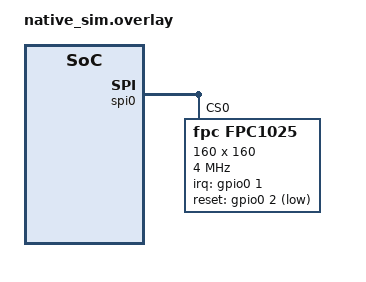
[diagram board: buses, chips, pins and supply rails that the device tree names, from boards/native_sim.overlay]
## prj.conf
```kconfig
<<<<<<< HEAD   (453fd99d5363bf9651b2fb0d3ffbbab7386a6376 program,zmake: drop cmsis references)
# Copyright 2023 The ChromiumOS Authors
# Use of this source code is governed by a BSD-style license that can be
# found in the LICENSE file.

CONFIG_ZTEST=y
CONFIG_EMUL=y
CONFIG_GPIO=y
CONFIG_SPI=y
CONFIG_PM_DEVICE=y
CONFIG_FINGERPRINT_SENSOR=y
CONFIG_FINGERPRINT_SENSOR_FPC1025_PAL=y
CONFIG_APPLICATION_DEFINED_SYSCALL=y
CONFIG_UART_NATIVE_PTY_0_ON_STDINOUT=y
||||||| BASE   (0cb93ccd933607defa9592c423c9a9fb4946fd4d anakin: Set PDC source PDO overcurrent capability)
# Copyright 2023 The ChromiumOS Authors
# Use of this source code is governed by a BSD-style license that can be
# found in the LICENSE file.

CONFIG_ZTEST=y
CONFIG_EMUL=y
CONFIG_GPIO=y
CONFIG_SPI=y
CONFIG_PM_DEVICE=y
CONFIG_FINGERPRINT_SENSOR=y
CONFIG_FINGERPRINT_SENSOR_FPC1025_PAL=y
CONFIG_APPLICATION_DEFINED_SYSCALL=y
CONFIG_NATIVE_UART_0_ON_STDINOUT=y
=======
>>>>>>> BRANCH (86da3bbeafeffe5727f5bfec7d9eed87995f2661 UPSTREAM: driver: add new ALS CM36781 driver code)
```

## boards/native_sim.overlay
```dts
<<<<<<< HEAD   (453fd99d5363bf9651b2fb0d3ffbbab7386a6376 program,zmake: drop cmsis references)
/* Copyright 2023 The ChromiumOS Authors
 * Use of this source code is governed by a BSD-style license that can be
 * found in the LICENSE file.
 */

#define FPC1025_COMMON_IMAGE_PROPS \
    width = <160>; \
    height = <160>; \
    bits-per-pixel = <8>; \
    v4l2-pixel-format = "V4L2_PIX_FMT_GREY";

#define FPC1025_RAW_IMAGE_PROPS \
    FPC1025_COMMON_IMAGE_PROPS \
    frame-size = <26260>;

#define FPC1025_REAL_IMAGE_PROPS \
    FPC1025_COMMON_IMAGE_PROPS \
    frame-size = <25600>;

/ {
	chosen {
		cros-fp,fingerprint-sensor = &fpc1025;
	};
};

&spi0 {
	fpc1025: fpc1025@0 {
		compatible = "fpc,fpc1025";
		reg = <0>;
		spi-max-frequency = <4000000>;

		configs {
			compatible = "fingerprint-image-frame-params";
			config0 {
				FPC1025_RAW_IMAGE_PROPS
				capture-type = "FINGERPRINT_CAPTURE_TYPE_VENDOR_FORMAT";
			};
			config1 {
				FPC1025_REAL_IMAGE_PROPS
				capture-type = "FINGERPRINT_CAPTURE_TYPE_SIMPLE_IMAGE";
			};
			config2 {
				FPC1025_REAL_IMAGE_PROPS
				capture-type = "FINGERPRINT_CAPTURE_TYPE_PATTERN0";
			};
			config3 {
				FPC1025_REAL_IMAGE_PROPS
				capture-type = "FINGERPRINT_CAPTURE_TYPE_PATTERN1";
			};
			config4 {
				FPC1025_RAW_IMAGE_PROPS
				capture-type = "FINGERPRINT_CAPTURE_TYPE_QUALITY_TEST";
			};
			config5 {
				FPC1025_REAL_IMAGE_PROPS
				capture-type = "FINGERPRINT_CAPTURE_TYPE_RESET_TEST";
			};
		};

		irq-gpios = <&gpio0 1 (GPIO_ACTIVE_HIGH | GPIO_PULL_DOWN)>;
		reset-gpios = <&gpio0 2 GPIO_ACTIVE_LOW>;
	};
};
||||||| BASE   (0cb93ccd933607defa9592c423c9a9fb4946fd4d anakin: Set PDC source PDO overcurrent capability)
/* Copyright 2023 The ChromiumOS Authors
 * Use of this source code is governed by a BSD-style license that can be
 * found in the LICENSE file.
 */

/ {
	chosen {
		cros-fp,fingerprint-sensor = &fpc1025;
	};
};

&spi0 {
	fpc1025: fpc1025@0 {
		compatible = "fpc,fpc1025";
		reg = <0>;
		spi-max-frequency = <4000000>;

		width = <160>;
		height = <160>;
		bits-per-pixel = <8>;
		v4l2-pixel-format = "V4L2_PIX_FMT_GREY";

		irq-gpios = <&gpio0 1 (GPIO_ACTIVE_HIGH | GPIO_PULL_DOWN)>;
		reset-gpios = <&gpio0 2 GPIO_ACTIVE_LOW>;
	};
};
=======
>>>>>>> BRANCH (86da3bbeafeffe5727f5bfec7d9eed87995f2661 UPSTREAM: driver: add new ALS CM36781 driver code)
```

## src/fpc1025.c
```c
<<<<<<< HEAD   (453fd99d5363bf9651b2fb0d3ffbbab7386a6376 program,zmake: drop cmsis references)
/* Copyright 2023 The ChromiumOS Authors
 * Use of this source code is governed by a BSD-style license that can be
 * found in the LICENSE file.
 */

#include "fpc1025_pal_test_helpers.h"

#include <zephyr/device.h>
#include <zephyr/devicetree.h>
#include <zephyr/drivers/emul.h>
#include <zephyr/drivers/gpio.h>
#include <zephyr/drivers/gpio/gpio_emul.h>
#include <zephyr/fff.h>
#include <zephyr/sys/byteorder.h>
#include <zephyr/sys/util.h>
#include <zephyr/ztest.h>
#include <zephyr/ztest_assert.h>

#include <drivers/fingerprint.h>
#include <emul/emul_fpc1025.h>
#include <fingerprint/v4l2_types.h>
#include <fingerprint_fpc1025_private.h>

DEFINE_FFF_GLOBALS;

struct fpc1025_fixture {
	const struct device *dev;
	const struct emul *target;
};

static void *fpc1025_setup(void)
{
	static struct fpc1025_fixture fixture = {
		.dev = DEVICE_DT_GET(DT_NODELABEL(fpc1025)),
		.target = EMUL_DT_GET(DT_NODELABEL(fpc1025)),
	};

	zassert_not_null(fixture.dev);
	zassert_not_null(fixture.target);
	return &fixture;
}

/* Converts capture types from the ec domain to the fpc domain. */
int convert_fp_capture_type_to_fpc_capture_type(int mode);

#define FPC1025_IMAGE_FRAME_PARAM_INITIALIZER(idx, node_id)                 \
	{                                                                   \
		.frame_size = FINGERPRINT_SENSOR_FRAME_SIZE(idx, node_id),  \
		.pixel_format =                                             \
			FINGERPRINT_SENSOR_V4L2_PIXEL_FORMAT(idx, node_id), \
		.width = FINGERPRINT_SENSOR_RES_X(idx, node_id),            \
		.height = FINGERPRINT_SENSOR_RES_Y(idx, node_id),           \
		.bpp = FINGERPRINT_SENSOR_RES_BPP(idx, node_id),            \
		.fp_capture_type =                                          \
			FINGERPRINT_SENSOR_CAPTURE_TYPE(idx, node_id),      \
		.reserved = 0,                                              \
	}

static const struct fingerprint_image_frame_params
	expected_image_frame_params_array[] = { LISTIFY(
		NUM_IMAGE_CAPTURE_TYPES, FPC1025_IMAGE_FRAME_PARAM_INITIALIZER,
		(, ), DT_NODELABEL(fpc1025)) };

ZTEST_SUITE(fpc1025, NULL, fpc1025_setup, NULL, NULL, NULL);

ZTEST_F(fpc1025, test_init_success)
{
	zassert_ok(fingerprint_init(fixture->dev));
	zassert_equal(fpc1025_get_low_power_mode(fixture->target), 1);
}

ZTEST_F(fpc1025, test_init_failure_bad_hwid)
{
	fpc1025_set_hwid(fixture->target, 0x0);
	zassert_equal(fingerprint_init(fixture->dev), -EINVAL);
}

ZTEST_F(fpc1025, test_deinit_success)
{
	zassert_ok(fingerprint_deinit(fixture->dev));
}

ZTEST_F(fpc1025, test_get_info)
{
	struct fingerprint_sensor_info sensor_info;
	struct fingerprint_image_frame_params
		image_frame_params_array[NUM_IMAGE_CAPTURE_TYPES];
	uint8_t num_params = NUM_IMAGE_CAPTURE_TYPES;

	/* We need to initialize driver first to initialize 'error' field */
	zassert_ok(fingerprint_init(fixture->dev));
	zassert_ok(fingerprint_get_info(fixture->dev, &sensor_info,
					image_frame_params_array, &num_params));
	zassert_equal(
		num_params, NUM_IMAGE_CAPTURE_TYPES,
		"fingerprint_get_info returned an unexpected number of params");

	zassert_equal(sensor_info.vendor_id, FOURCC('F', 'P', 'C', ' '));
	zassert_equal(sensor_info.product_id, 9);
	/*
	 * Last 4 bits of hardware id is a year of sensor production,
	 * could differ between sensors.
	 */
	zassert_equal(sensor_info.model_id >> 4, 0x021);
	zassert_equal(sensor_info.version, 1);
	zassert_equal(sensor_info.errors,
		      FINGERPRINT_ERROR_DEAD_PIXELS_UNKNOWN);

	for (int i = 0; i < NUM_IMAGE_CAPTURE_TYPES; ++i) {
		zassert_equal(
			memcmp(&image_frame_params_array[i],
			       &expected_image_frame_params_array[i],
			       sizeof(struct fingerprint_image_frame_params)),
			0, "Struct comparison failed at index %d", i);
	}
}

ZTEST_F(fpc1025, test_enter_low_power_mode)
{
	zassert_ok(fingerprint_set_mode(fixture->dev,
					FINGERPRINT_SENSOR_MODE_LOW_POWER));
	zassert_equal(fpc1025_get_low_power_mode(fixture->target), 1);
}

ZTEST_F(fpc1025, test_enter_idle)
{
	zassert_ok(fingerprint_set_mode(fixture->dev,
					FINGERPRINT_SENSOR_MODE_IDLE));
}

ZTEST_F(fpc1025, test_invalid_mode_not_supported)
{
	zassert_equal(fingerprint_set_mode(fixture->dev, UINT16_MAX), -ENOTSUP);
}

FAKE_VOID_FUNC(test_interrupt_handler, const struct device *);

ZTEST_F(fpc1025, test_interrupt)
{
	const struct gpio_dt_spec spec =
		GPIO_DT_SPEC_GET(DT_NODELABEL(fpc1025), irq_gpios);

	RESET_FAKE(test_interrupt_handler);
	zassert_ok(fingerprint_config(fixture->dev, test_interrupt_handler));

	/* Enable interrupt (they are disabled by default). */
	zassert_ok(gpio_pin_interrupt_configure_dt(&spec,
						   GPIO_INT_EDGE_TO_ACTIVE));

	/*
	 * Toggle the GPIO twice. We expect that the driver will disable
	 * interrupt in interrupt handler, so handler should be called once.
	 */
	for (int i = 0; i < 2; i++) {
		gpio_emul_input_set(spec.port, spec.pin, 1);
		k_msleep(5);
		gpio_emul_input_set(spec.port, spec.pin, 0);
		k_msleep(5);
	}

	/* Verify the handler was called once. */
	zassert_equal(test_interrupt_handler_fake.call_count, 1);
}

ZTEST_F(fpc1025, test_maintenance_not_supported)
{
	uint8_t buffer[CONFIG_FINGERPRINT_SENSOR_IMAGE_SIZE];

	zassert_equal(fingerprint_maintenance(fixture->dev, buffer,
					      sizeof(buffer)),
		      -ENOTSUP);
}

ZTEST_F(fpc1025, test_finger_status_not_supported)
{
	zassert_equal(fingerprint_finger_status(fixture->dev), -ENOTSUP);
}

ZTEST_F(fpc1025, test_acquire_image_not_supported)
{
	uint8_t buffer[CONFIG_FINGERPRINT_SENSOR_IMAGE_SIZE];

	zassert_equal(fingerprint_acquire_image(fixture->dev, 0, buffer,
						sizeof(buffer)),
		      -ENOTSUP);
}

ZTEST_F(fpc1025, test_sensor_mode_detect_not_supported)
{
	zassert_equal(fingerprint_set_mode(fixture->dev,
					   FINGERPRINT_SENSOR_MODE_DETECT),
		      -ENOTSUP);
}

ZTEST_F(fpc1025, test_pal_spi_write_read)
{
	/*
	 * Prepare buffer with command and place for response.
	 * Sensor should return hardware id.
	 */
	uint8_t hwid_cmd_buf[] = { 0xFC, 0x00, 0x00 };
	uint16_t hwid;

	zassert_ok(fpc1025_pal_spi_write_read(hwid_cmd_buf, hwid_cmd_buf,
					      sizeof(hwid_cmd_buf), false));
	/*
	 * Second and third bytes contain HWID. It's encoded in big endian so
	 * convert it cpu endianness.
	 */
	hwid = sys_be16_to_cpu(*(uint16_t *)&hwid_cmd_buf[1]);

	/*
	 * Last 4 bits of hardware id is a year of sensor production,
	 * could differ between sensors.
	 */
	zassert_equal(hwid >> 4, 0x021);
}

ZTEST_F(fpc1025, test_pal_spi_write_read_series)
{
	uint8_t hwid_cmd_buf[] = { 0xFC, 0x00, 0x00 };

	zassert_ok(fpc1025_pal_spi_write_read(hwid_cmd_buf, hwid_cmd_buf,
					      sizeof(hwid_cmd_buf), true));
	/* The second transfer is done, with the CS already asserted */
	zassert_ok(fpc1025_pal_spi_write_read(hwid_cmd_buf, hwid_cmd_buf,
					      sizeof(hwid_cmd_buf), false));
}

ZTEST_F(fpc1025, test_pal_check_irq)
{
	const struct gpio_dt_spec irq_pin =
		GPIO_DT_SPEC_GET(DT_NODELABEL(fpc1025), irq_gpios);

	gpio_emul_input_set(irq_pin.port, irq_pin.pin, 1);
	zassert_equal(fpc1025_pal_spi_check_irq(), true);
	gpio_emul_input_set(irq_pin.port, irq_pin.pin, 0);
	zassert_equal(fpc1025_pal_spi_check_irq(), false);
}

ZTEST_F(fpc1025, test_pal_read_irq)
{
	const struct gpio_dt_spec irq_pin =
		GPIO_DT_SPEC_GET(DT_NODELABEL(fpc1025), irq_gpios);

	gpio_emul_input_set(irq_pin.port, irq_pin.pin, 1);
	zassert_equal(fpc1025_pal_spi_read_irq(), true);
	gpio_emul_input_set(irq_pin.port, irq_pin.pin, 0);
	zassert_equal(fpc1025_pal_spi_read_irq(), false);
}

ZTEST_F(fpc1025, test_pal_reset_pin)
{
	const struct gpio_dt_spec reset_pin =
		GPIO_DT_SPEC_GET(DT_NODELABEL(fpc1025), reset_gpios);

	/* Reset is active when GPIO output is low. */
	fpc1025_pal_spi_reset(true);
	zassert_equal(gpio_emul_output_get(reset_pin.port, reset_pin.pin), 0);

	/* Reset is inactive when GPIO output is high. */
	fpc1025_pal_spi_reset(false);
	zassert_equal(gpio_emul_output_get(reset_pin.port, reset_pin.pin), 1);
}

ZTEST_F(fpc1025, test_pal_timebase_get_tick)
{
	zassert_equal(fpc1025_pal_timebase_get_tick(), k_uptime_get_32());
}

ZTEST_F(fpc1025, test_pal_timebase_busy_wait)
{
	uint32_t t1, t2;

	t1 = fpc1025_pal_timebase_get_tick();

	/* Wait 100ms. */
	fpc1025_pal_timebase_busy_wait(100);

	t2 = fpc1025_pal_timebase_get_tick();

	zassert_true((t2 - t1) == 100);
}

ZTEST_F(fpc1025, test_pal_memory_alloc)
{
	void *p;

	p = fpc1025_pal_malloc(2048);
	zassert_not_null(p);

	fpc1025_pal_free(p);
}

static ZTEST_DMEM volatile int expected_reason = -1;

void k_sys_fatal_error_handler(unsigned int reason, const struct arch_esf *pEsf)
{
	printk("Caught system error -- reason %d\n", reason);

	zassert_not_equal(expected_reason, -1, "Unexpected crash");
	zassert_equal(reason, expected_reason,
		      "Wrong crash type got %d expected %d\n", reason,
		      expected_reason);

	expected_reason = -1;
	ztest_test_pass();
}

ZTEST_F(fpc1025, test_pal_oops_on_memory_alloc_fail)
{
	expected_reason = K_ERR_KERNEL_OOPS;
	fpc1025_pal_malloc(CONFIG_FINGERPRINT_SENSOR_FPC1025_HEAP_SIZE);

	ztest_test_fail();
}

ZTEST_F(fpc1025, test_convert_fp_capture_type_to_fpc_capture_type)
{
	zassert_equal(convert_fp_capture_type_to_fpc_capture_type(
			      FINGERPRINT_CAPTURE_TYPE_VENDOR_FORMAT),
		      FPC_CAPTURE_VENDOR_FORMAT);
	zassert_equal(convert_fp_capture_type_to_fpc_capture_type(
			      FINGERPRINT_CAPTURE_TYPE_SIMPLE_IMAGE),
		      FPC_CAPTURE_SIMPLE_IMAGE);
	zassert_equal(convert_fp_capture_type_to_fpc_capture_type(
			      FINGERPRINT_CAPTURE_TYPE_PATTERN0),
		      FPC_CAPTURE_PATTERN0);
	zassert_equal(convert_fp_capture_type_to_fpc_capture_type(
			      FINGERPRINT_CAPTURE_TYPE_PATTERN1),
		      FPC_CAPTURE_PATTERN1);
	zassert_equal(convert_fp_capture_type_to_fpc_capture_type(
			      FINGERPRINT_CAPTURE_TYPE_QUALITY_TEST),
		      FPC_CAPTURE_QUALITY_TEST);
	zassert_equal(convert_fp_capture_type_to_fpc_capture_type(
			      FINGERPRINT_CAPTURE_TYPE_RESET_TEST),
		      FPC_CAPTURE_RESET_TEST);
	zassert_equal(convert_fp_capture_type_to_fpc_capture_type(
			      FINGERPRINT_CAPTURE_TYPE_MAX),
		      -EINVAL);
}

ZTEST_F(fpc1025, test_acquire_image_small_buffer_size)
{
	uint8_t buffer[CONFIG_FINGERPRINT_SENSOR_IMAGE_SIZE] = { 0 };
	size_t image_buf_size = CONFIG_FINGERPRINT_SENSOR_IMAGE_SIZE - 1;
	enum fingerprint_capture_type capture_type =
		FINGERPRINT_CAPTURE_TYPE_VENDOR_FORMAT;

	zassert_equal(fingerprint_acquire_image(fixture->dev, capture_type,
						buffer, image_buf_size),
		      -EINVAL);
}

ZTEST_F(fpc1025, test_acquire_image_wrong_capture_type)
{
	uint8_t buffer[CONFIG_FINGERPRINT_SENSOR_IMAGE_SIZE] = { 0 };
	enum fingerprint_capture_type capture_type =
		FINGERPRINT_CAPTURE_TYPE_MAX;

	zassert_equal(fingerprint_acquire_image(fixture->dev, capture_type,
						buffer, sizeof(buffer)),
		      -EINVAL);
}
||||||| BASE   (0cb93ccd933607defa9592c423c9a9fb4946fd4d anakin: Set PDC source PDO overcurrent capability)
/* Copyright 2023 The ChromiumOS Authors
 * Use of this source code is governed by a BSD-style license that can be
 * found in the LICENSE file.
 */

#include "fpc1025_pal_test_helpers.h"

#include <zephyr/device.h>
#include <zephyr/devicetree.h>
#include <zephyr/drivers/emul.h>
#include <zephyr/drivers/gpio.h>
#include <zephyr/drivers/gpio/gpio_emul.h>
#include <zephyr/fff.h>
#include <zephyr/sys/byteorder.h>
#include <zephyr/ztest.h>
#include <zephyr/ztest_assert.h>

#include <drivers/fingerprint.h>
#include <emul/emul_fpc1025.h>
#include <fingerprint/v4l2_types.h>
#include <fingerprint_fpc1025_private.h>

DEFINE_FFF_GLOBALS;

struct fpc1025_fixture {
	const struct device *dev;
	const struct emul *target;
};

static void *fpc1025_setup(void)
{
	static struct fpc1025_fixture fixture = {
		.dev = DEVICE_DT_GET(DT_NODELABEL(fpc1025)),
		.target = EMUL_DT_GET(DT_NODELABEL(fpc1025)),
	};

	zassert_not_null(fixture.dev);
	zassert_not_null(fixture.target);
	return &fixture;
}

/* Converts capture types from the ec domain to the fpc domain. */
int convert_fp_capture_type_to_fpc_capture_type(int mode);

ZTEST_SUITE(fpc1025, NULL, fpc1025_setup, NULL, NULL, NULL);

ZTEST_F(fpc1025, test_init_success)
{
	zassert_ok(fingerprint_init(fixture->dev));
	zassert_equal(fpc1025_get_low_power_mode(fixture->target), 1);
}

ZTEST_F(fpc1025, test_init_failure_bad_hwid)
{
	fpc1025_set_hwid(fixture->target, 0x0);
	zassert_equal(fingerprint_init(fixture->dev), -EINVAL);
}

ZTEST_F(fpc1025, test_deinit_success)
{
	zassert_ok(fingerprint_deinit(fixture->dev));
}

ZTEST_F(fpc1025, test_get_info)
{
	struct fingerprint_info info;

	/* We need to initialize driver first to initialize 'error' field */
	zassert_ok(fingerprint_init(fixture->dev));
	zassert_ok(fingerprint_get_info(fixture->dev, &info));

	zassert_equal(info.vendor_id, FOURCC('F', 'P', 'C', ' '));
	zassert_equal(info.product_id, 9);
	/*
	 * Last 4 bits of hardware id is a year of sensor production,
	 * could differ between sensors.
	 */
	zassert_equal(info.model_id >> 4, 0x021);
	zassert_equal(info.version, 1);
	zassert_equal(info.frame_size, CONFIG_FINGERPRINT_SENSOR_IMAGE_SIZE);
	zassert_equal(info.pixel_format, FINGERPRINT_SENSOR_V4L2_PIXEL_FORMAT(
						 DT_NODELABEL(fpc1025)));
	zassert_equal(info.width,
		      FINGERPRINT_SENSOR_RES_X(DT_NODELABEL(fpc1025)));
	zassert_equal(info.height,
		      FINGERPRINT_SENSOR_RES_Y(DT_NODELABEL(fpc1025)));
	zassert_equal(info.bpp,
		      FINGERPRINT_SENSOR_RES_BPP(DT_NODELABEL(fpc1025)));
	zassert_equal(info.errors, FINGERPRINT_ERROR_DEAD_PIXELS_UNKNOWN);
}

ZTEST_F(fpc1025, test_enter_low_power_mode)
{
	zassert_ok(fingerprint_set_mode(fixture->dev,
					FINGERPRINT_SENSOR_MODE_LOW_POWER));
	zassert_equal(fpc1025_get_low_power_mode(fixture->target), 1);
}

ZTEST_F(fpc1025, test_enter_idle)
{
	zassert_ok(fingerprint_set_mode(fixture->dev,
					FINGERPRINT_SENSOR_MODE_IDLE));
}

ZTEST_F(fpc1025, test_invalid_mode_not_supported)
{
	zassert_equal(fingerprint_set_mode(fixture->dev, UINT16_MAX), -ENOTSUP);
}

FAKE_VOID_FUNC(test_interrupt_handler, const struct device *);

ZTEST_F(fpc1025, test_interrupt)
{
	const struct gpio_dt_spec spec =
		GPIO_DT_SPEC_GET(DT_NODELABEL(fpc1025), irq_gpios);

	RESET_FAKE(test_interrupt_handler);
	zassert_ok(fingerprint_config(fixture->dev, test_interrupt_handler));

	/* Enable interrupt (they are disabled by default). */
	zassert_ok(gpio_pin_interrupt_configure_dt(&spec,
						   GPIO_INT_EDGE_TO_ACTIVE));

	/*
	 * Toggle the GPIO twice. We expect that the driver will disable
	 * interrupt in interrupt handler, so handler should be called once.
	 */
	for (int i = 0; i < 2; i++) {
		gpio_emul_input_set(spec.port, spec.pin, 1);
		k_msleep(5);
		gpio_emul_input_set(spec.port, spec.pin, 0);
		k_msleep(5);
	}

	/* Verify the handler was called once. */
	zassert_equal(test_interrupt_handler_fake.call_count, 1);
}

ZTEST_F(fpc1025, test_maintenance_not_supported)
{
	uint8_t buffer[CONFIG_FINGERPRINT_SENSOR_IMAGE_SIZE];

	zassert_equal(fingerprint_maintenance(fixture->dev, buffer,
					      sizeof(buffer)),
		      -ENOTSUP);
}

ZTEST_F(fpc1025, test_finger_status_not_supported)
{
	zassert_equal(fingerprint_finger_status(fixture->dev), -ENOTSUP);
}

ZTEST_F(fpc1025, test_acquire_image_not_supported)
{
	uint8_t buffer[CONFIG_FINGERPRINT_SENSOR_IMAGE_SIZE];

	zassert_equal(fingerprint_acquire_image(fixture->dev, 0, buffer,
						sizeof(buffer)),
		      -ENOTSUP);
}

ZTEST_F(fpc1025, test_sensor_mode_detect_not_supported)
{
	zassert_equal(fingerprint_set_mode(fixture->dev,
					   FINGERPRINT_SENSOR_MODE_DETECT),
		      -ENOTSUP);
}

ZTEST_F(fpc1025, test_pal_spi_write_read)
{
	/*
	 * Prepare buffer with command and place for response.
	 * Sensor should return hardware id.
	 */
	uint8_t hwid_cmd_buf[] = { 0xFC, 0x00, 0x00 };
	uint16_t hwid;

	zassert_ok(fpc1025_pal_spi_write_read(hwid_cmd_buf, hwid_cmd_buf,
					      sizeof(hwid_cmd_buf), false));
	/*
	 * Second and third bytes contain HWID. It's encoded in big endian so
	 * convert it cpu endianness.
	 */
	hwid = sys_be16_to_cpu(*(uint16_t *)&hwid_cmd_buf[1]);

	/*
	 * Last 4 bits of hardware id is a year of sensor production,
	 * could differ between sensors.
	 */
	zassert_equal(hwid >> 4, 0x021);
}

ZTEST_F(fpc1025, test_pal_spi_write_read_series)
{
	uint8_t hwid_cmd_buf[] = { 0xFC, 0x00, 0x00 };

	zassert_ok(fpc1025_pal_spi_write_read(hwid_cmd_buf, hwid_cmd_buf,
					      sizeof(hwid_cmd_buf), true));
	/* The second transfer is done, with the CS already asserted */
	zassert_ok(fpc1025_pal_spi_write_read(hwid_cmd_buf, hwid_cmd_buf,
					      sizeof(hwid_cmd_buf), false));
}

ZTEST_F(fpc1025, test_pal_check_irq)
{
	const struct gpio_dt_spec irq_pin =
		GPIO_DT_SPEC_GET(DT_NODELABEL(fpc1025), irq_gpios);

	gpio_emul_input_set(irq_pin.port, irq_pin.pin, 1);
	zassert_equal(fpc1025_pal_spi_check_irq(), true);
	gpio_emul_input_set(irq_pin.port, irq_pin.pin, 0);
	zassert_equal(fpc1025_pal_spi_check_irq(), false);
}

ZTEST_F(fpc1025, test_pal_read_irq)
{
	const struct gpio_dt_spec irq_pin =
		GPIO_DT_SPEC_GET(DT_NODELABEL(fpc1025), irq_gpios);

	gpio_emul_input_set(irq_pin.port, irq_pin.pin, 1);
	zassert_equal(fpc1025_pal_spi_read_irq(), true);
	gpio_emul_input_set(irq_pin.port, irq_pin.pin, 0);
	zassert_equal(fpc1025_pal_spi_read_irq(), false);
}

ZTEST_F(fpc1025, test_pal_reset_pin)
{
	const struct gpio_dt_spec reset_pin =
		GPIO_DT_SPEC_GET(DT_NODELABEL(fpc1025), reset_gpios);

	/* Reset is active when GPIO output is low. */
	fpc1025_pal_spi_reset(true);
	zassert_equal(gpio_emul_output_get(reset_pin.port, reset_pin.pin), 0);

	/* Reset is inactive when GPIO output is high. */
	fpc1025_pal_spi_reset(false);
	zassert_equal(gpio_emul_output_get(reset_pin.port, reset_pin.pin), 1);
}

ZTEST_F(fpc1025, test_pal_timebase_get_tick)
{
	zassert_equal(fpc1025_pal_timebase_get_tick(), k_uptime_get_32());
}

ZTEST_F(fpc1025, test_pal_timebase_busy_wait)
{
	uint32_t t1, t2;

	t1 = fpc1025_pal_timebase_get_tick();

	/* Wait 100ms. */
	fpc1025_pal_timebase_busy_wait(100);

	t2 = fpc1025_pal_timebase_get_tick();

	zassert_true((t2 - t1) == 100);
}

ZTEST_F(fpc1025, test_pal_memory_alloc)
{
	void *p;

	p = fpc1025_pal_malloc(2048);
	zassert_not_null(p);

	fpc1025_pal_free(p);
}

static ZTEST_DMEM volatile int expected_reason = -1;

void k_sys_fatal_error_handler(unsigned int reason, const struct arch_esf *pEsf)
{
	printk("Caught system error -- reason %d\n", reason);

	zassert_not_equal(expected_reason, -1, "Unexpected crash");
	zassert_equal(reason, expected_reason,
		      "Wrong crash type got %d expected %d\n", reason,
		      expected_reason);

	expected_reason = -1;
	ztest_test_pass();
}

ZTEST_F(fpc1025, test_pal_oops_on_memory_alloc_fail)
{
	expected_reason = K_ERR_KERNEL_OOPS;
	fpc1025_pal_malloc(CONFIG_FINGERPRINT_SENSOR_FPC1025_HEAP_SIZE);

	ztest_test_fail();
}

ZTEST_F(fpc1025, test_convert_fp_capture_type_to_fpc_capture_type)
{
	zassert_equal(convert_fp_capture_type_to_fpc_capture_type(
			      FINGERPRINT_CAPTURE_TYPE_VENDOR_FORMAT),
		      FPC_CAPTURE_VENDOR_FORMAT);
	zassert_equal(convert_fp_capture_type_to_fpc_capture_type(
			      FINGERPRINT_CAPTURE_TYPE_SIMPLE_IMAGE),
		      FPC_CAPTURE_SIMPLE_IMAGE);
	zassert_equal(convert_fp_capture_type_to_fpc_capture_type(
			      FINGERPRINT_CAPTURE_TYPE_PATTERN0),
		      FPC_CAPTURE_PATTERN0);
	zassert_equal(convert_fp_capture_type_to_fpc_capture_type(
			      FINGERPRINT_CAPTURE_TYPE_PATTERN1),
		      FPC_CAPTURE_PATTERN1);
	zassert_equal(convert_fp_capture_type_to_fpc_capture_type(
			      FINGERPRINT_CAPTURE_TYPE_QUALITY_TEST),
		      FPC_CAPTURE_QUALITY_TEST);
	zassert_equal(convert_fp_capture_type_to_fpc_capture_type(
			      FINGERPRINT_CAPTURE_TYPE_RESET_TEST),
		      FPC_CAPTURE_RESET_TEST);
	zassert_equal(convert_fp_capture_type_to_fpc_capture_type(
			      FINGERPRINT_CAPTURE_TYPE_MAX),
		      -EINVAL);
}

ZTEST_F(fpc1025, test_acquire_image_small_buffer_size)
{
	uint8_t buffer[CONFIG_FINGERPRINT_SENSOR_IMAGE_SIZE] = { 0 };
	size_t image_buf_size = CONFIG_FINGERPRINT_SENSOR_IMAGE_SIZE - 1;
	enum fingerprint_capture_type capture_type =
		FINGERPRINT_CAPTURE_TYPE_VENDOR_FORMAT;

	zassert_equal(fingerprint_acquire_image(fixture->dev, capture_type,
						buffer, image_buf_size),
		      -EINVAL);
}

ZTEST_F(fpc1025, test_acquire_image_wrong_capture_type)
{
	uint8_t buffer[CONFIG_FINGERPRINT_SENSOR_IMAGE_SIZE] = { 0 };
	enum fingerprint_capture_type capture_type =
		FINGERPRINT_CAPTURE_TYPE_MAX;

	zassert_equal(fingerprint_acquire_image(fixture->dev, capture_type,
						buffer, sizeof(buffer)),
		      -EINVAL);
}
=======
>>>>>>> BRANCH (86da3bbeafeffe5727f5bfec7d9eed87995f2661 UPSTREAM: driver: add new ALS CM36781 driver code)
```

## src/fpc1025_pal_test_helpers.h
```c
/* Copyright 2023 The ChromiumOS Authors
 * Use of this source code is governed by a BSD-style license that can be
 * found in the LICENSE file.
 */

#ifndef ZEPHYR_TEST_FINGERPRINT_DRIVERS_FPC1025_SRC_FPC1025_PAL_TEST_HELPERS_H_
#define ZEPHYR_TEST_FINGERPRINT_DRIVERS_FPC1025_SRC_FPC1025_PAL_TEST_HELPERS_H_

#include <zephyr/kernel.h>

__syscall int fpc1025_pal_spi_write_read(uint8_t *write, uint8_t *read,
					 size_t size, bool leave_cs_asserted);
__syscall bool fpc1025_pal_spi_check_irq(void);
__syscall bool fpc1025_pal_spi_read_irq(void);
__syscall void fpc1025_pal_spi_reset(bool state);
__syscall uint32_t fpc1025_pal_timebase_get_tick(void);
__syscall void fpc1025_pal_timebase_busy_wait(uint32_t ms);
__syscall void *fpc1025_pal_malloc(uint32_t size);
__syscall void fpc1025_pal_free(void *data);

#include <zephyr/syscalls/fpc1025_pal_test_helpers.h>

#endif // ZEPHYR_TEST_FINGERPRINT_DRIVERS_FPC1025_SRC_FPC1025_PAL_TEST_HELPERS_H_
```
